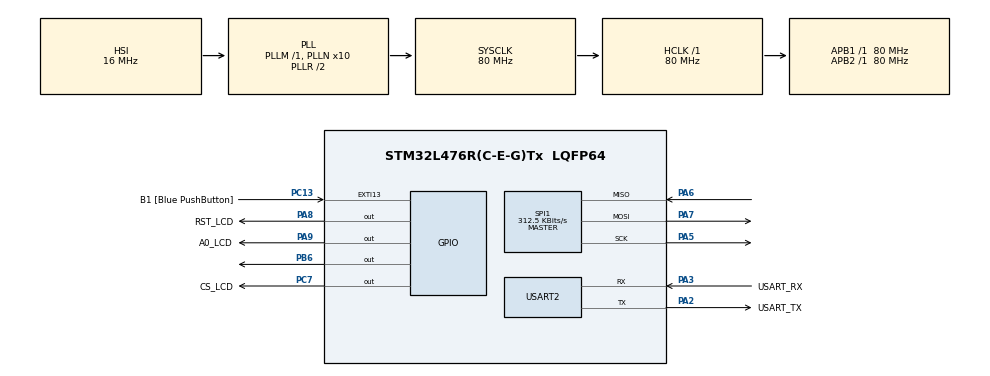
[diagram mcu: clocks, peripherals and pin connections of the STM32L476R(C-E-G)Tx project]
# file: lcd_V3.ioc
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Mcu.Family=STM32L4
Mcu.Name=STM32L476R(C-E-G)Tx
Mcu.Package=LQFP64
NVIC.PriorityGroup=NVIC_PRIORITYGROUP_4
PA13\ (JTMS-SWDIO).GPIO_Label=TMS
PA13\ (JTMS-SWDIO).Mode=Serial_Wire
PA13\ (JTMS-SWDIO).Signal=SYS_JTMS-SWDIO
PA14\ (JTCK-SWCLK).GPIO_Label=TCK
PA14\ (JTCK-SWCLK).Mode=Serial_Wire
PA14\ (JTCK-SWCLK).Signal=SYS_JTCK-SWCLK
PA2.GPIO_Label=USART_TX
PA2.GPIO_Mode=GPIO_MODE_AF_PP
PA2.GPIO_PuPd=GPIO_NOPULL
PA2.GPIO_Speed=GPIO_SPEED_FREQ_VERY_HIGH
PA2.Mode=Asynchronous
PA2.Signal=USART2_TX
PA3.GPIO_Label=USART_RX
PA3.GPIO_Mode=GPIO_MODE_AF_PP
PA3.GPIO_PuPd=GPIO_NOPULL
PA3.GPIO_Speed=GPIO_SPEED_FREQ_VERY_HIGH
PA3.Mode=Asynchronous
PA3.Signal=USART2_RX
PA5.Mode=Full_Duplex_Master
PA5.Signal=SPI1_SCK
PA6.Mode=Full_Duplex_Master
PA6.Signal=SPI1_MISO
PA7.Mode=Full_Duplex_Master
PA7.Signal=SPI1_MOSI
PA8.GPIO_Label=RST_LCD
PA8.Signal=GPIO_Output
PA9.GPIO_Label=A0_LCD
PA9.Signal=GPIO_Output
PB3\ (JTDO-TRACESWO).GPIO_Label=SWO
PB3\ (JTDO-TRACESWO).Signal=SYS_JTDO-SWO
PB6.Signal=GPIO_Output
PC13.GPIO_Label=B1 [Blue PushButton]
PC13.GPIO_ModeDefaultEXTI=GPIO_MODE_IT_FALLING
PC13.GPIO_PuPd=GPIO_NOPULL
PC13.Signal=GPXTI13
PC14-OSC32_IN\ (PC14).Mode=LSE-External-Oscillator
PC14-OSC32_IN\ (PC14).Signal=RCC_OSC32_IN
PC15-OSC32_OUT\ (PC15).Mode=LSE-External-Oscillator
PC15-OSC32_OUT\ (PC15).Signal=RCC_OSC32_OUT
PC7.GPIO_Label=CS_LCD
PC7.Signal=GPIO_Output
PH0-OSC_IN\ (PH0).Signal=RCC_OSC_IN
PH1-OSC_OUT\ (PH1).Signal=RCC_OSC_OUT
ProjectManager.HeapSize=0x200
ProjectManager.StackSize=0x400
ProjectManager.TargetToolchain=STM32CubeIDE
RCC.ADCFreq_Value=64000000
RCC.AHBFreq_Value=80000000
RCC.APB1Freq_Value=80000000
RCC.APB1TimFreq_Value=80000000
RCC.APB2Freq_Value=80000000
RCC.APB2TimFreq_Value=80000000
RCC.CortexFreq_Value=80000000
RCC.HCLKFreq_Value=80000000
RCC.HSE_VALUE=8000000
RCC.HSI_VALUE=16000000
RCC.MSI_VALUE=4000000
RCC.PLLN=10
RCC.PLLSourceVirtual=RCC_PLLSOURCE_HSI
RCC.PREFETCH_ENABLE=1
RCC.SYSCLKFreq_VALUE=80000000
RCC.SYSCLKSource=RCC_SYSCLKSOURCE_PLLCLK
RCC.USBFreq_Value=64000000
RCC.VCOOutputFreq_Value=160000000
SPI1.BaudRatePrescaler=SPI_BAUDRATEPRESCALER_256
SPI1.CLKPhase=SPI_PHASE_1EDGE
SPI1.CLKPolarity=SPI_POLARITY_LOW
SPI1.CalculateBaudRate=312.5 KBits/s
SPI1.DataSize=SPI_DATASIZE_8BIT
SPI1.Direction=SPI_DIRECTION_2LINES
SPI1.Mode=SPI_MODE_MASTER
SPI1.VirtualType=VM_MASTER
USART2.VirtualMode-Asynchronous=VM_ASYNC
board=NUCLEO-L476RG

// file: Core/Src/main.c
/* USER CODE BEGIN Header */
/**
  ******************************************************************************
  * @file           : main.c
  * @brief          : Main program body
  ******************************************************************************
  * @attention
  *
  * Copyright (c) 2025 STMicroelectronics.
  * All rights reserved.
  *
  * This software is licensed under terms that can be found in the LICENSE file
  * in the root directory of this software component.
  * If no LICENSE file comes with this software, it is provided AS-IS.
  *
  ******************************************************************************
  */
/* USER CODE END Header */
#include "main.h"

/* USER CODE BEGIN Includes */
#include "stm32l4xx_hal.h"
#include "dogxl.h"
#include "ltc.h"
#include "font.h"
#include "stdio.h"
/* USER CODE END Includes */

/* USER CODE BEGIN PD */
#define LCD_VOLTS_COLUMN 80
#define BUCLE_BTW_DELAY 100
/* USER CODE END PD */

SPI_HandleTypeDef hspi1;

UART_HandleTypeDef huart2;

/* USER CODE BEGIN PV */
/*
uint8_t buffer[2], buffer2[2], start[1], start2[1];
uint16_t result, result2;
float volt[8]={0};
*/
/* USER CODE END PV */

void SystemClock_Config(void);
static void MX_GPIO_Init(void);
static void MX_USART2_UART_Init(void);
static void MX_SPI1_Init(void);

/* USER CODE BEGIN 0 */
typedef struct{
	uint8_t start[1];
	uint8_t buffer[2];
	uint16_t result;
	float volt;
}tLTC_buffer;

typedef struct{
	char valsSTR[10];
} tvalsSTR;

const char* static_volts[] = {
		"VOLTAJE 1:  ", "VOLTAJE 2:  ", "VOLTAJE 3:  ", "VOLTAJE 4:  ",
		"VOLTAJE 5:  ", "VOLTAJE 6:  ", "VOLTAJE 7:  ", "VOLTAJE 8:  "
};

const uint8_t LTC_codes[] = {
		0b11000111, 0b11100111, 0b11001111, 0b11101111,
		0b11010111, 0b11110111, 0b11011111, 0b11111111
};

/* USER CODE END 0 */

int main(void)
{

  /* USER CODE BEGIN 1 */
	int i;
	tLTC_buffer LTC_channel[8];
	tvalsSTR valSTR[8];
	for (i=0; i<8;i++){
		LTC_channel[i].start[0]=LTC_codes[i];
	}
  /* USER CODE END 1 */

  /* MCU Configuration--------------------------------------------------------*/

  /* Reset of all peripherals, Initializes the Flash interface and the Systick. */
  HAL_Init();

  /* Configure the system clock */
  SystemClock_Config();

  /* Initialize all configured peripherals */
  MX_GPIO_Init();
  MX_USART2_UART_Init();
  MX_SPI1_Init();
  /* USER CODE BEGIN 2 */

  // INITIALIZE DOG-L128W & DISPLAY LOGO

  //HAL_GPIO_WritePin(GPIOC, GPIO_PIN_7, GPIO_PIN_SET);
  DOGXL128_CleanScreen();
  DOGXL128_Init();
  //DOGXL128_CleanScreen();
  DOGXL128_DisplayImage(DOGXL128_EtechWhite);
  HAL_Delay(1000);
  DOGXL128_DisplayImage(DOGXL128_EtechBlack);
  HAL_Delay(1000);
  /*
  DOGXL128_DisplayImage(DOGXL128_EtechWhite);
  HAL_Delay(600);
  DOGXL128_DisplayImage(DOGXL128_EtechBlack);
  HAL_Delay(600);
  */
  DOGXL128_DisplayImage(DOGXL128_EtechName);
  HAL_Delay(1500);

  //BUCLE TO PRINT STATIC STRINGS
  for (i=0;i<8;i++){
	  DOGXL128_DrawString(i,10,static_volts[i]);
  }
  /* USER CODE END 2 */

  /* Infinite loop */
  /* USER CODE BEGIN WHILE */
  while (1)
  {
	  //LTC VOLTAGE READ & DISPLAY OF THE 8 CHANNELS
	  for (i=0;i<8;i++){
	  HAL_GPIO_WritePin(GPIOB, GPIO_PIN_6, GPIO_PIN_RESET);
	  HAL_SPI_Transmit(&hspi1, LTC_channel[i].start,sizeof(LTC_channel[i].start), HAL_MAX_DELAY);
	  HAL_SPI_Receive(&hspi1, LTC_channel[i].buffer, sizeof(LTC_channel[i].buffer),HAL_MAX_DELAY);
	  HAL_GPIO_WritePin(GPIOB, GPIO_PIN_6, GPIO_PIN_SET);
	  LTC_channel[i].result = (LTC_channel[i].buffer[0] << 8) | LTC_channel[i].buffer[1];
	  LTC_channel[i].result >>= 3;
	  LTC_channel[i].volt=(MAX_VOLTS/MAX_BITS)*LTC_channel[i].result;

	  //CONVERSION & PRINT OF THE 8 STRINGS
	  sprintf(valSTR[i].valsSTR,"%.2f", LTC_channel[i].volt);
	  DOGXL128_DrawString(i, LCD_VOLTS_COLUMN, valSTR[i].valsSTR);

	  }
	  //SHORT DELAY TO THE CORRECT VISUALIZATION OF THE DATA BETWEEN BUCLES
	  HAL_Delay(BUCLE_BTW_DELAY);

    /* USER CODE END WHILE */

  }
}

void SystemClock_Config(void)
{
  RCC_OscInitTypeDef RCC_OscInitStruct = {0};
  RCC_ClkInitTypeDef RCC_ClkInitStruct = {0};

  /** Configure the main internal regulator output voltage
  */
  if (HAL_PWREx_ControlVoltageScaling(PWR_REGULATOR_VOLTAGE_SCALE1) != HAL_OK)
  {
    Error_Handler();
  }

  /** Initializes the RCC Oscillators according to the specified parameters
  * in the RCC_OscInitTypeDef structure.
  */
  RCC_OscInitStruct.OscillatorType = RCC_OSCILLATORTYPE_HSI;
  RCC_OscInitStruct.HSIState = RCC_HSI_ON;
  RCC_OscInitStruct.HSICalibrationValue = RCC_HSICALIBRATION_DEFAULT;
  RCC_OscInitStruct.PLL.PLLState = RCC_PLL_ON;
  RCC_OscInitStruct.PLL.PLLSource = RCC_PLLSOURCE_HSI;
  RCC_OscInitStruct.PLL.PLLM = 1;
  RCC_OscInitStruct.PLL.PLLN = 10;
  RCC_OscInitStruct.PLL.PLLP = RCC_PLLP_DIV7;
  RCC_OscInitStruct.PLL.PLLQ = RCC_PLLQ_DIV2;
  RCC_OscInitStruct.PLL.PLLR = RCC_PLLR_DIV2;
  if (HAL_RCC_OscConfig(&RCC_OscInitStruct) != HAL_OK)
  {
    Error_Handler();
  }

  /** Initializes the CPU, AHB and APB buses clocks
  */
  RCC_ClkInitStruct.ClockType = RCC_CLOCKTYPE_HCLK|RCC_CLOCKTYPE_SYSCLK
                              |RCC_CLOCKTYPE_PCLK1|RCC_CLOCKTYPE_PCLK2;
  RCC_ClkInitStruct.SYSCLKSource = RCC_SYSCLKSOURCE_PLLCLK;
  RCC_ClkInitStruct.AHBCLKDivider = RCC_SYSCLK_DIV1;
  RCC_ClkInitStruct.APB1CLKDivider = RCC_HCLK_DIV1;
  RCC_ClkInitStruct.APB2CLKDivider = RCC_HCLK_DIV1;

  if (HAL_RCC_ClockConfig(&RCC_ClkInitStruct, FLASH_LATENCY_4) != HAL_OK)
  {
    Error_Handler();
  }
}

static void MX_SPI1_Init(void)
{

  /* SPI1 parameter configuration*/
  hspi1.Instance = SPI1;
  hspi1.Init.Mode = SPI_MODE_MASTER;
  hspi1.Init.Direction = SPI_DIRECTION_2LINES;
  hspi1.Init.DataSize = SPI_DATASIZE_8BIT;
  hspi1.Init.CLKPolarity = SPI_POLARITY_LOW;
  hspi1.Init.CLKPhase = SPI_PHASE_1EDGE;
  hspi1.Init.NSS = SPI_NSS_SOFT;
  hspi1.Init.BaudRatePrescaler = SPI_BAUDRATEPRESCALER_256;
  hspi1.Init.FirstBit = SPI_FIRSTBIT_MSB;
  hspi1.Init.TIMode = SPI_TIMODE_DISABLE;
  hspi1.Init.CRCCalculation = SPI_CRCCALCULATION_DISABLE;
  hspi1.Init.CRCPolynomial = 7;
  hspi1.Init.CRCLength = SPI_CRC_LENGTH_DATASIZE;
  hspi1.Init.NSSPMode = SPI_NSS_PULSE_ENABLE;
  if (HAL_SPI_Init(&hspi1) != HAL_OK)
  {
    Error_Handler();
  }

}

static void MX_USART2_UART_Init(void)
{

  huart2.Instance = USART2;
  huart2.Init.BaudRate = 115200;
  huart2.Init.WordLength = UART_WORDLENGTH_8B;
  huart2.Init.StopBits = UART_STOPBITS_1;
  huart2.Init.Parity = UART_PARITY_NONE;
  huart2.Init.Mode = UART_MODE_TX_RX;
  huart2.Init.HwFlowCtl = UART_HWCONTROL_NONE;
  huart2.Init.OverSampling = UART_OVERSAMPLING_16;
  huart2.Init.OneBitSampling = UART_ONE_BIT_SAMPLE_DISABLE;
  huart2.AdvancedInit.AdvFeatureInit = UART_ADVFEATURE_NO_INIT;
  if (HAL_UART_Init(&huart2) != HAL_OK)
  {
    Error_Handler();
  }

}

static void MX_GPIO_Init(void)
{
  GPIO_InitTypeDef GPIO_InitStruct = {0};

  /* GPIO Ports Clock Enable */
  __HAL_RCC_GPIOC_CLK_ENABLE();
  __HAL_RCC_GPIOH_CLK_ENABLE();
  __HAL_RCC_GPIOA_CLK_ENABLE();
  __HAL_RCC_GPIOB_CLK_ENABLE();

  /*Configure GPIO pin Output Level */
  HAL_GPIO_WritePin(CS_LCD_GPIO_Port, CS_LCD_Pin, GPIO_PIN_RESET);

  /*Configure GPIO pin Output Level */
  HAL_GPIO_WritePin(GPIOA, RST_LCD_Pin|A0_LCD_Pin, GPIO_PIN_RESET);

  /*Configure GPIO pin Output Level */
  HAL_GPIO_WritePin(GPIOB, GPIO_PIN_6, GPIO_PIN_RESET);

  /*Configure GPIO pin : B1_Pin */
  GPIO_InitStruct.Pin = B1_Pin;
  GPIO_InitStruct.Mode = GPIO_MODE_IT_FALLING;
  GPIO_InitStruct.Pull = GPIO_NOPULL;
  HAL_GPIO_Init(B1_GPIO_Port, &GPIO_InitStruct);

  /*Configure GPIO pin : CS_LCD_Pin */
  GPIO_InitStruct.Pin = CS_LCD_Pin;
  GPIO_InitStruct.Mode = GPIO_MODE_OUTPUT_PP;
  GPIO_InitStruct.Pull = GPIO_NOPULL;
  GPIO_InitStruct.Speed = GPIO_SPEED_FREQ_LOW;
  HAL_GPIO_Init(CS_LCD_GPIO_Port, &GPIO_InitStruct);

  /*Configure GPIO pins : RST_LCD_Pin A0_LCD_Pin */
  GPIO_InitStruct.Pin = RST_LCD_Pin|A0_LCD_Pin;
  GPIO_InitStruct.Mode = GPIO_MODE_OUTPUT_PP;
  GPIO_InitStruct.Pull = GPIO_NOPULL;
  GPIO_InitStruct.Speed = GPIO_SPEED_FREQ_LOW;
  HAL_GPIO_Init(GPIOA, &GPIO_InitStruct);

  /*Configure GPIO pin : PB6 */
  GPIO_InitStruct.Pin = GPIO_PIN_6;
  GPIO_InitStruct.Mode = GPIO_MODE_OUTPUT_PP;
  GPIO_InitStruct.Pull = GPIO_NOPULL;
  GPIO_InitStruct.Speed = GPIO_SPEED_FREQ_LOW;
  HAL_GPIO_Init(GPIOB, &GPIO_InitStruct);

}

void Error_Handler(void)
{
  __disable_irq();
  while (1)
  {
  }
}
